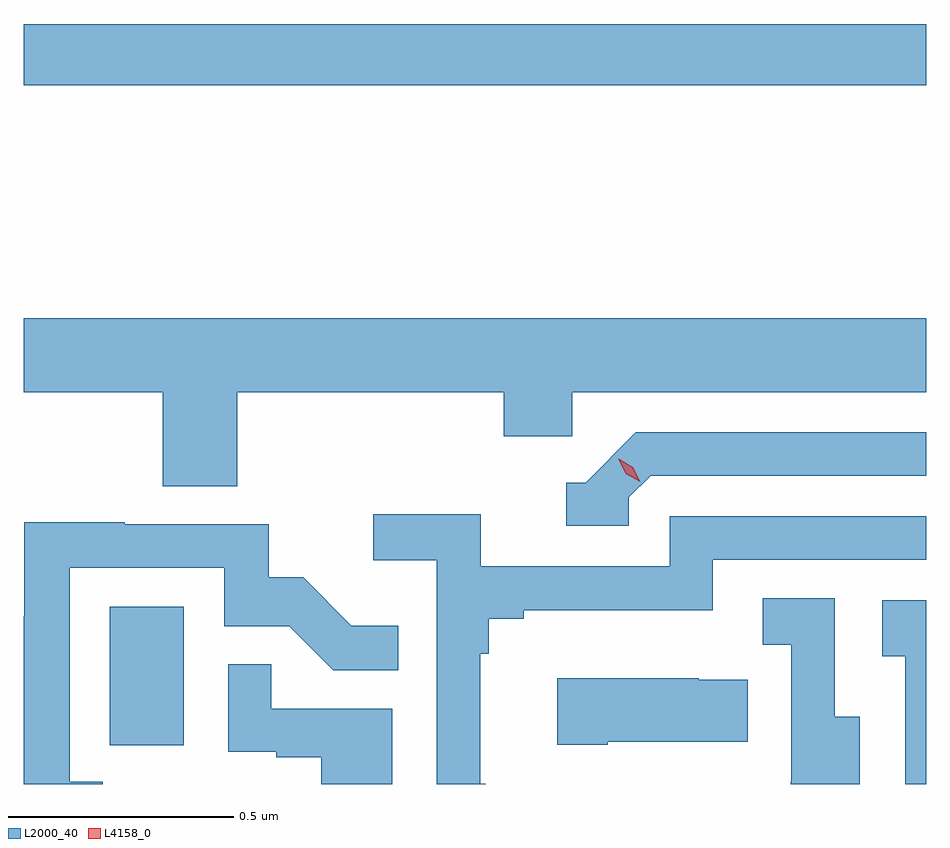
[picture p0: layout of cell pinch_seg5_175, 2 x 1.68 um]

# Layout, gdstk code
import gdstk
lib = gdstk.Library(unit=1e-6, precision=1e-09)
def R(c, l, rs):  # rectangles x0, y0, x1, y1
    for r in rs: c.add(gdstk.rectangle(r[:2], r[2:], *l))
def P(c, l, *ps):  # polygons
    for p in ps: c.add(gdstk.Polygon(p, *l))
L2000_40 = (2000, 40)
L4158_0 = (4158, 0)

pinch_seg5_175 = lib.new_cell('pinch_seg5_175')
R(pinch_seg5_175, L2000_40, [(1119.032,891.942,1119.196,892.249), (1118.841,893.404,1120.841,893.54)])
P(pinch_seg5_175, L2000_40, [(1119.314,892.724),(1119.905,892.724),(1119.905,892.626),(1120.056,892.626),(1120.056,892.724),(1120.841,892.724),(1120.841,892.888),(1118.841,892.888),(1118.841,892.724),(1119.149,892.724),(1119.149,892.516),(1119.314,892.516)],
  [(1120.182,892.491),(1120.23,892.539),(1120.841,892.539),(1120.841,892.635),(1120.197,892.635),(1120.086,892.524),(1120.043,892.524),(1120.043,892.428),(1120.182,892.428)],
  [(1119.865,891.857),(1119.853,891.857),(1119.853,892.145),(1119.872,892.145),(1119.872,892.222),(1119.949,892.222),(1119.949,892.241),(1120.368,892.241),(1120.368,892.353),(1120.841,892.353),(1120.841,892.449),(1120.272,892.449),(1120.272,892.338),(1119.854,892.338),(1119.854,892.454),(1119.615,892.454),(1119.615,892.352),(1119.756,892.352),(1119.756,891.856),(1119.865,891.856)],
  [(1119.016,891.861),(1118.943,891.861),(1118.943,892.335),(1119.285,892.335),(1119.285,892.206),(1119.429,892.206),(1119.527,892.108),(1119.671,892.108),(1119.671,892.207),(1119.567,892.207),(1119.46,892.314),(1119.384,892.314),(1119.384,892.431),(1119.065,892.431),(1119.065,892.436),(1118.842,892.436),(1118.842,892.228),(1118.841,892.228),(1118.841,891.856),(1119.016,891.856)],
  [(1120.693,892.005),(1120.638,892.005),(1120.638,892.268),(1120.479,892.268),(1120.479,892.165),(1120.542,892.165),(1120.542,891.861),(1120.541,891.861),(1120.541,891.856),(1120.693,891.856)],
  [(1120.841,892.263),(1120.743,892.263),(1120.743,892.139),(1120.794,892.139),(1120.794,891.856),(1120.841,891.856)],
  [(1119.658,892.023),(1119.389,892.023),(1119.389,892.121),(1119.294,892.121),(1119.294,891.927),(1119.401,891.927),(1119.401,891.915),(1119.5,891.915),(1119.5,891.856),(1119.658,891.856)],
  [(1120.135,891.95),(1120.445,891.95),(1120.445,892.087),(1120.337,892.087),(1120.337,892.09),(1120.023,892.09),(1120.023,891.943),(1120.135,891.943)])
P(pinch_seg5_175, L4158_0, [(1120.207,892.526),(1120.175,892.544),(1120.158,892.577),(1120.158,892.577),(1120.159,892.577),(1120.19,892.558),(1120.207,892.526),(1120.207,892.526)])

lib.write_gds('pinch_seg5_175.gds')
